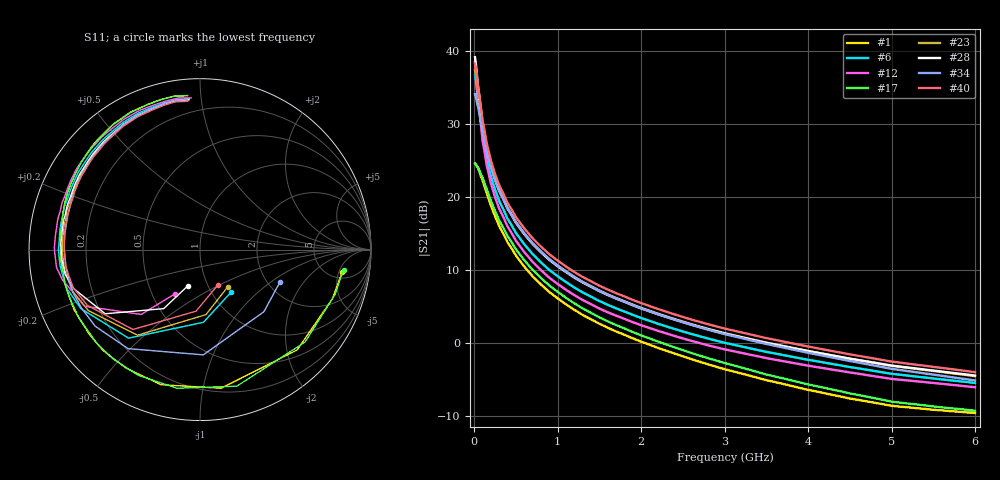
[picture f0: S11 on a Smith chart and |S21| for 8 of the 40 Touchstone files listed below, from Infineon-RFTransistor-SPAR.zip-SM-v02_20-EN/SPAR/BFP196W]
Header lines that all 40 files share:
! Infineon Technologies  Discrete & RF Semiconductors
! BFP196W
! Common Emitter S-Parameters:  Jan 2017
# GHz  S  MA  R  50
!  f  S11  S21  S12  S22
! GHz  MAG  ANG  MAG  ANG  MAG  ANG  MAG  ANG
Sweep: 10 MHz to 6 GHz
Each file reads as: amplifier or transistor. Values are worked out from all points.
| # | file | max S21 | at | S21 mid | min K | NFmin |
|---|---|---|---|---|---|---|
| 1 | BFP196W_w_noise_VCE_1.0V_IC_5.0mA.s2p | 24.6 dB | 10 MHz | -0.7 dB at 2.2 GHz | -0.04 | 0.90 dB |
| 2 | BFP196W_w_noise_VCE_1.0V_IC_10mA.s2p | 29.7 dB | 10 MHz | 1.2 dB at 2.2 GHz | -0.01 | 0.91 dB |
| 3 | BFP196W_w_noise_VCE_1.0V_IC_20mA.s2p | 34.0 dB | 10 MHz | 2.3 dB at 2.2 GHz | 0.04 | 1.02 dB |
| 4 | BFP196W_w_noise_VCE_1.0V_IC_25mA.s2p | 35.2 dB | 10 MHz | 2.5 dB at 2.2 GHz | 0.07 | 1.07 dB |
| 5 | BFP196W_w_noise_VCE_1.0V_IC_30mA.s2p | 36.1 dB | 10 MHz | 2.6 dB at 2.2 GHz | 0.08 | 1.13 dB |
| 6 | BFP196W_w_noise_VCE_1.0V_IC_35mA.s2p | 36.7 dB | 10 MHz | 2.6 dB at 2.2 GHz | 0.11 | 1.19 dB |
| 7 | BFP196W_w_noise_VCE_1.0V_IC_40mA.s2p | 37.3 dB | 10 MHz | 2.6 dB at 2.2 GHz | 0.12 | 1.24 dB |
| 8 | BFP196W_w_noise_VCE_1.0V_IC_45mA.s2p | 37.7 dB | 10 MHz | 2.6 dB at 2.2 GHz | 0.13 | 1.31 dB |
| 9 | BFP196W_w_noise_VCE_1.0V_IC_50mA.s2p | 38.0 dB | 10 MHz | 2.5 dB at 2.2 GHz | 0.16 | 1.36 dB |
| 10 | BFP196W_w_noise_VCE_1.0V_IC_60mA.s2p | 38.4 dB | 10 MHz | 2.2 dB at 2.2 GHz | 0.19 | 1.47 dB |
| 11 | BFP196W_w_noise_VCE_1.0V_IC_65mA.s2p | 38.5 dB | 10 MHz | 2.0 dB at 2.2 GHz | 0.22 | 1.51 dB |
| 12 | BFP196W_w_noise_VCE_1.0V_IC_70mA.s2p | 38.5 dB | 10 MHz | 1.7 dB at 2.2 GHz | 0.24 | 1.58 dB |
| 13 | BFP196W_w_noise_VCE_1.0V_IC_75mA.s2p | 38.5 dB | 10 MHz | 1.3 dB at 2.2 GHz | 0.27 | 1.62 dB |
| 14 | BFP196W_w_noise_VCE_1.0V_IC_80mA.s2p | 38.4 dB | 10 MHz | 0.8 dB at 2.2 GHz | 0.29 | 1.68 dB |
| 15 | BFP196W_w_noise_VCE_1.0V_IC_85mA.s2p | 38.3 dB | 10 MHz | 0.3 dB at 2.2 GHz | 0.34 | 1.73 dB |
| 16 | BFP196W_w_noise_VCE_1.0V_IC_90mA.s2p | 38.1 dB | 10 MHz | -0.3 dB at 2.2 GHz | 0.37 | 1.78 dB |
| 17 | BFP196W_w_noise_VCE_2.0V_IC_5.0mA.s2p | 24.6 dB | 10 MHz | 0.2 dB at 2.2 GHz | -0.02 | 0.90 dB |
| 18 | BFP196W_w_noise_VCE_2.0V_IC_10mA.s2p | 29.7 dB | 10 MHz | 2.2 dB at 2.2 GHz | -0.02 | 0.91 dB |
| 19 | BFP196W_w_noise_VCE_2.0V_IC_20mA.s2p | 34.1 dB | 10 MHz | 3.4 dB at 2.2 GHz | 0.04 | 1.02 dB |
| 20 | BFP196W_w_noise_VCE_2.0V_IC_25mA.s2p | 35.3 dB | 10 MHz | 3.7 dB at 2.2 GHz | 0.07 | 1.07 dB |
| 21 | BFP196W_w_noise_VCE_2.0V_IC_30mA.s2p | 36.2 dB | 10 MHz | 3.9 dB at 2.2 GHz | 0.08 | 1.13 dB |
| 22 | BFP196W_w_noise_VCE_2.0V_IC_35mA.s2p | 36.9 dB | 10 MHz | 4.0 dB at 2.2 GHz | 0.09 | 1.19 dB |
| 23 | BFP196W_w_noise_VCE_2.0V_IC_40mA.s2p | 37.4 dB | 10 MHz | 4.0 dB at 2.2 GHz | 0.12 | 1.24 dB |
| 24 | BFP196W_w_noise_VCE_2.0V_IC_45mA.s2p | 37.8 dB | 10 MHz | 4.1 dB at 2.2 GHz | 0.12 | 1.31 dB |
| 25 | BFP196W_w_noise_VCE_2.0V_IC_50mA.s2p | 38.2 dB | 10 MHz | 4.1 dB at 2.2 GHz | 0.13 | 1.36 dB |
| 26 | BFP196W_w_noise_VCE_2.0V_IC_60mA.s2p | 38.8 dB | 10 MHz | 4.0 dB at 2.2 GHz | 0.16 | 1.47 dB |
| 27 | BFP196W_w_noise_VCE_2.0V_IC_65mA.s2p | 39.0 dB | 10 MHz | 4.0 dB at 2.2 GHz | 0.18 | 1.51 dB |
| 28 | BFP196W_w_noise_VCE_2.0V_IC_70mA.s2p | 39.1 dB | 10 MHz | 4.0 dB at 2.2 GHz | 0.19 | 1.58 dB |
| 29 | BFP196W_w_noise_VCE_2.0V_IC_75mA.s2p | 39.3 dB | 10 MHz | 3.9 dB at 2.2 GHz | 0.21 | 1.62 dB |
| 30 | BFP196W_w_noise_VCE_2.0V_IC_80mA.s2p | 39.4 dB | 10 MHz | 3.8 dB at 2.2 GHz | 0.23 | 1.68 dB |
| 31 | BFP196W_w_noise_VCE_2.0V_IC_85mA.s2p | 39.5 dB | 10 MHz | 3.7 dB at 2.2 GHz | 0.24 | 1.73 dB |
| 32 | BFP196W_w_noise_VCE_2.0V_IC_90mA.s2p | 39.5 dB | 10 MHz | 3.5 dB at 2.2 GHz | 0.25 | 1.78 dB |
| 33 | BFP196W_w_noise_VCE_3.0V_IC_10mA.s2p | 29.7 dB | 10 MHz | 2.7 dB at 2.2 GHz | -0.01 | 0.91 dB |
| 34 | BFP196W_w_noise_VCE_3.0V_IC_20mA.s2p | 34.1 dB | 10 MHz | 4.0 dB at 2.2 GHz | 0.04 | 1.02 dB |
| 35 | BFP196W_w_noise_VCE_3.0V_IC_25mA.s2p | 35.3 dB | 10 MHz | 4.2 dB at 2.2 GHz | 0.06 | 1.07 dB |
| 36 | BFP196W_w_noise_VCE_3.0V_IC_30mA.s2p | 36.2 dB | 10 MHz | 4.4 dB at 2.2 GHz | 0.08 | 1.13 dB |
| 37 | BFP196W_w_noise_VCE_3.0V_IC_35mA.s2p | 36.9 dB | 10 MHz | 4.5 dB at 2.2 GHz | 0.10 | 1.19 dB |
| 38 | BFP196W_w_noise_VCE_3.0V_IC_40mA.s2p | 37.4 dB | 10 MHz | 4.6 dB at 2.2 GHz | 0.11 | 1.24 dB |
| 39 | BFP196W_w_noise_VCE_3.0V_IC_45mA.s2p | 37.9 dB | 10 MHz | 4.6 dB at 2.2 GHz | 0.11 | 1.31 dB |
| 40 | BFP196W_w_noise_VCE_3.0V_IC_50mA.s2p | 38.2 dB | 10 MHz | 4.7 dB at 2.2 GHz | 0.13 | 1.36 dB |

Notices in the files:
Hoja de datos/BFP 450/Infineon-RFTransistor-SPAR.zip-SM-v02_20-EN/SPAR/BFP196W/BFP196W_w_noise_VCE_1.0V_IC_10mA.s2p:
(c) 2017  Infineon Technologies AG, Munich
